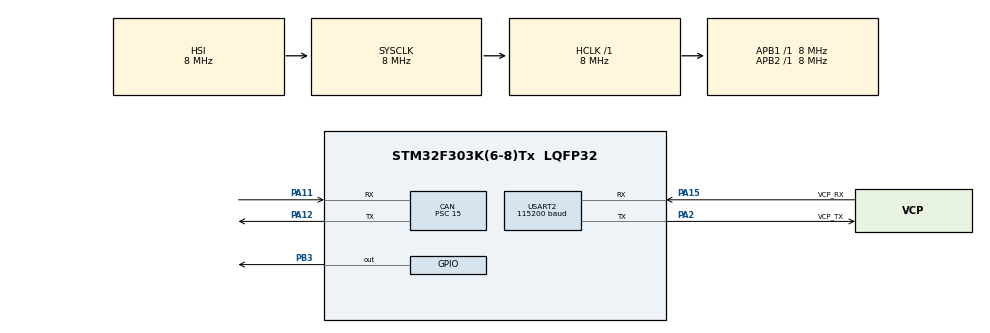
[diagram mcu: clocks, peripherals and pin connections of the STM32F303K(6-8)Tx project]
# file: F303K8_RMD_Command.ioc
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CAN.CalculateBaudRate=177777
CAN.CalculateTimeBit=5625
CAN.CalculateTimeQuantum=1875.0
CAN.Prescaler=15
Mcu.Family=STM32F3
Mcu.Name=STM32F303K(6-8)Tx
Mcu.Package=LQFP32
NVIC.CAN_RX0_IRQn=true\:1\:0\:true\:false\:true\:true\:true\:true
NVIC.CAN_TX_IRQn=true\:1\:0\:true\:false\:true\:true\:true\:true
NVIC.PriorityGroup=NVIC_PRIORITYGROUP_4
NVIC.USART2_IRQn=true\:0\:0\:false\:false\:true\:true\:true\:true
PA11.Mode=CAN_Activate
PA11.Signal=CAN_RX
PA12.Mode=CAN_Activate
PA12.Signal=CAN_TX
PA13.GPIO_Label=SWDIO
PA13.Mode=Serial_Wire
PA13.Signal=SYS_JTMS-SWDIO
PA14.GPIO_Label=SWCLK
PA14.Mode=Serial_Wire
PA14.Signal=SYS_JTCK-SWCLK
PA15.GPIO_Label=VCP_RX
PA15.Mode=Asynchronous
PA15.Signal=USART2_RX
PA2.GPIO_Label=VCP_TX
PA2.Mode=Asynchronous
PA2.Signal=USART2_TX
PB3.Signal=GPIO_Output
PF0\ /\ OSC_IN.GPIO_Label=MCO
PF0\ /\ OSC_IN.Mode=HSE-External-Clock-Source
PF0\ /\ OSC_IN.Signal=RCC_OSC_IN
ProjectManager.HeapSize=0x200
ProjectManager.StackSize=0x400
ProjectManager.TargetToolchain=STM32CubeIDE
RCC.AHBFreq_Value=8000000
RCC.APB1Freq_Value=8000000
RCC.APB2Freq_Value=8000000
RCC.CortexFreq_Value=8000000
RCC.HSE_VALUE=8000000
RCC.HSI_VALUE=8000000
RCC.SYSCLKFreq_VALUE=8000000
USART2.BaudRate=115200
USART2.VirtualMode-Asynchronous=VM_ASYNC
board=NUCLEO-F303K8

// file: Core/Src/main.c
/* USER CODE BEGIN Header */
/**
  ******************************************************************************
  * @file           : main.c
  * @brief          : Main program body
  ******************************************************************************
  * @attention
  *
  * Copyright (c) 2022 STMicroelectronics.
  * All rights reserved.
  *
  * This software is licensed under terms that can be found in the LICENSE file
  * in the root directory of this software component.
  * If no LICENSE file comes with this software, it is provided AS-IS.
  *
  ******************************************************************************
  */
/* USER CODE END Header */
#include "main.h"

 CAN_HandleTypeDef hcan;

UART_HandleTypeDef huart2;

/* USER CODE BEGIN PV */
CAN_FilterTypeDef sFilterConfig;
CAN_TxHeaderTypeDef TxHeader;
CAN_RxHeaderTypeDef RxHeader;
uint8_t TxData[8];
uint8_t RxData[8];
uint32_t TxMailbox;

/* USER CODE END PV */

void SystemClock_Config(void);
static void MX_GPIO_Init(void);
static void MX_USART2_UART_Init(void);
static void MX_CAN_Init(void);

/* USER CODE BEGIN 0 */
uint8_t uart_data;
char tx_data[]="get_data\r\n";
int flag = 1;
uint8_t get_uart_flag=0;
uint8_t UART1_Data[2];

/* USER CODE END 0 */

int main(void)
{

  /* MCU Configuration--------------------------------------------------------*/

  /* Reset of all peripherals, Initializes the Flash interface and the Systick. */
  HAL_Init();

  /* Configure the system clock */
  SystemClock_Config();

  /* Initialize all configured peripherals */
  MX_GPIO_Init();
  MX_USART2_UART_Init();
  MX_CAN_Init();
  /* USER CODE BEGIN 2 */
  sFilterConfig.FilterBank = 0;
  sFilterConfig.FilterMode = CAN_FILTERMODE_IDMASK;
  sFilterConfig.FilterScale = CAN_FILTERSCALE_32BIT;
  sFilterConfig.FilterIdHigh = 0x0000;
  sFilterConfig.FilterIdLow = 0x0000;
  sFilterConfig.FilterMaskIdHigh = 0x0000;
  sFilterConfig.FilterMaskIdLow = 0x0000;
  sFilterConfig.FilterFIFOAssignment = CAN_RX_FIFO0;
  sFilterConfig.FilterActivation=ENABLE;
  sFilterConfig.SlaveStartFilterBank=14;
  if(HAL_CAN_ConfigFilter(&hcan,&sFilterConfig) != HAL_OK)
  {
	  Error_Handler();
  }
  if(HAL_CAN_Start(&hcan)!=HAL_OK)
  {
	  Error_Handler();
  }

  if(HAL_CAN_ActivateNotification(&hcan,CAN_IT_RX_FIFO0_MSG_PENDING | CAN_IT_TX_MAILBOX_EMPTY) != HAL_OK)
  {
	  Error_Handler();
  }
  TxHeader.StdId=0x01;
  //TxHeader.ExtId=0x01;
  TxHeader.RTR = CAN_RTR_DATA;
  TxHeader.IDE = CAN_ID_STD;
  TxHeader.DLC = 8;
  TxHeader.TransmitGlobalTime = DISABLE;
  TxData[0] = 0xA4;
  TxData[1] = 0x0F;
  TxData[2] = 0x00;
  TxData[3] = 0x64;
  TxData[4] = 0x50;
  TxData[5] = 0x46;
  TxData[6] = 0x00;
  TxData[7] = 0x00;

  /* USER CODE END 2 */

  /* Infinite loop */
  while (1)
  {

  }
}

void SystemClock_Config(void)
{
  RCC_OscInitTypeDef RCC_OscInitStruct = {0};
  RCC_ClkInitTypeDef RCC_ClkInitStruct = {0};

  /** Initializes the RCC Oscillators according to the specified parameters
  * in the RCC_OscInitTypeDef structure.
  */
  RCC_OscInitStruct.OscillatorType = RCC_OSCILLATORTYPE_HSI;
  RCC_OscInitStruct.HSIState = RCC_HSI_ON;
  RCC_OscInitStruct.HSICalibrationValue = RCC_HSICALIBRATION_DEFAULT;
  RCC_OscInitStruct.PLL.PLLState = RCC_PLL_NONE;
  if (HAL_RCC_OscConfig(&RCC_OscInitStruct) != HAL_OK)
  {
    Error_Handler();
  }

  /** Initializes the CPU, AHB and APB buses clocks
  */
  RCC_ClkInitStruct.ClockType = RCC_CLOCKTYPE_HCLK|RCC_CLOCKTYPE_SYSCLK
                              |RCC_CLOCKTYPE_PCLK1|RCC_CLOCKTYPE_PCLK2;
  RCC_ClkInitStruct.SYSCLKSource = RCC_SYSCLKSOURCE_HSI;
  RCC_ClkInitStruct.AHBCLKDivider = RCC_SYSCLK_DIV1;
  RCC_ClkInitStruct.APB1CLKDivider = RCC_HCLK_DIV1;
  RCC_ClkInitStruct.APB2CLKDivider = RCC_HCLK_DIV1;

  if (HAL_RCC_ClockConfig(&RCC_ClkInitStruct, FLASH_LATENCY_0) != HAL_OK)
  {
    Error_Handler();
  }
}

static void MX_CAN_Init(void)
{

  hcan.Instance = CAN;
  hcan.Init.Prescaler = 15;
  hcan.Init.Mode = CAN_MODE_NORMAL;
  hcan.Init.SyncJumpWidth = CAN_SJW_1TQ;
  hcan.Init.TimeSeg1 = CAN_BS1_1TQ;
  hcan.Init.TimeSeg2 = CAN_BS2_1TQ;
  hcan.Init.TimeTriggeredMode = DISABLE;
  hcan.Init.AutoBusOff = DISABLE;
  hcan.Init.AutoWakeUp = DISABLE;
  hcan.Init.AutoRetransmission = DISABLE;
  hcan.Init.ReceiveFifoLocked = DISABLE;
  hcan.Init.TransmitFifoPriority = DISABLE;
  if (HAL_CAN_Init(&hcan) != HAL_OK)
  {
    Error_Handler();
  }

}

static void MX_USART2_UART_Init(void)
{

  huart2.Instance = USART2;
  huart2.Init.BaudRate = 115200;
  huart2.Init.WordLength = UART_WORDLENGTH_8B;
  huart2.Init.StopBits = UART_STOPBITS_1;
  huart2.Init.Parity = UART_PARITY_NONE;
  huart2.Init.Mode = UART_MODE_TX_RX;
  huart2.Init.HwFlowCtl = UART_HWCONTROL_NONE;
  huart2.Init.OverSampling = UART_OVERSAMPLING_16;
  huart2.Init.OneBitSampling = UART_ONE_BIT_SAMPLE_DISABLE;
  huart2.AdvancedInit.AdvFeatureInit = UART_ADVFEATURE_NO_INIT;
  if (HAL_UART_Init(&huart2) != HAL_OK)
  {
    Error_Handler();
  }

}

static void MX_GPIO_Init(void)
{
  GPIO_InitTypeDef GPIO_InitStruct = {0};

  /* GPIO Ports Clock Enable */
  __HAL_RCC_GPIOF_CLK_ENABLE();
  __HAL_RCC_GPIOA_CLK_ENABLE();
  __HAL_RCC_GPIOB_CLK_ENABLE();

  /*Configure GPIO pin Output Level */
  HAL_GPIO_WritePin(GPIOB, GPIO_PIN_3, GPIO_PIN_RESET);

  /*Configure GPIO pin : PB3 */
  GPIO_InitStruct.Pin = GPIO_PIN_3;
  GPIO_InitStruct.Mode = GPIO_MODE_OUTPUT_PP;
  GPIO_InitStruct.Pull = GPIO_NOPULL;
  GPIO_InitStruct.Speed = GPIO_SPEED_FREQ_LOW;
  HAL_GPIO_Init(GPIOB, &GPIO_InitStruct);

}

/* USER CODE BEGIN 4 */
void HAL_UART_RxCpltCallback(UART_HandleTypeDef*UartHandle)
{
	HAL_UART_Transmit(&huart2,UART1_Data,1,1000);
	get_uart_flag=1;
}
void HAL_CAN_TxMailbox0CompleteCallack(CAN_HandleTypeDef *hcan)
{
	  HAL_GPIO_WritePin(GPIOB,GPIO_PIN_3,1);
}

void HAL_CAN_RxFifo0MsgPendingCallback(CAN_HandleTypeDef *hcan_)
{
  HAL_UART_Transmit(&huart2, tx_data, 3,0xFFFF);
  HAL_CAN_GetRxMessage(&hcan,CAN_RX_FIFO0, &RxHeader,RxData);
  HAL_UART_Transmit(&huart2,RxData,1,0xFFFF);
  flag *= -1;
  if(flag >0){
	  HAL_GPIO_WritePin(GPIOB,GPIO_PIN_3,1);
  }else{
	  HAL_GPIO_WritePin(GPIOB,GPIO_PIN_3,0);
  }
}
/* USER CODE END 4 */

void Error_Handler(void)
{
  __disable_irq();
  while (1)
  {
  }
}
